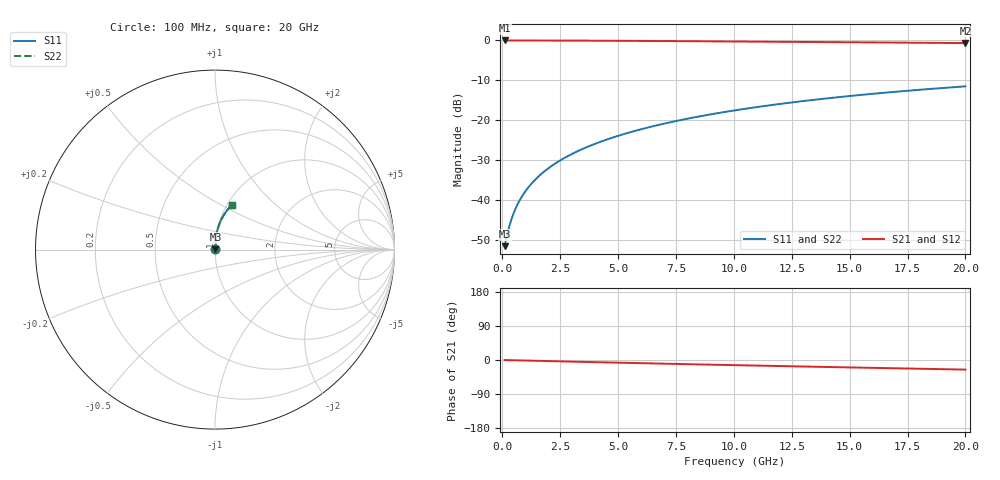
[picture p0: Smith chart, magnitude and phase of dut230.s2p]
! Touchstone file exported from HFSS 2024.1.0
!  File:  C:/UserFiles/LocalFiles/RDL_TSV_Batchsim/temp_RDL_top_230_1778688109.aedt
!  Generated:  12:03:52 AM May 14, 2026
!  Design:  RDL_top
!  Project:  temp_RDL_top_230_1778688109
!  Setup:  Setup1
!  Solution:  Sweep
! Variables:
!  dtsv = 10.80580581um
!  hbump = 3um
!  htsv = 80.7um
!  ldown = 100um
!  lrdl = 331.79um
!  p = 40
!  p1 = 45.3um
!  rhole = 1um
!  t = 450um
!  tdown = 3.915915916um
!  trdl = 2.96um
!  wdown = 15.38538539um
!  wrdl = 19.36um
# GHz S MA R 50.000000
! Terminal data exported
! Port[1] = Box2_T1
! Port[2] = Box2_T2
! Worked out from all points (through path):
!   200 points, 100 MHz to 20 GHz, reference 50 ohm
!   highest |S21| = -0.02 dB at 100 MHz (marker M1); lowest = -0.7 dB at 20 GHz (marker M2)
!   group delay of S21, straight-line fit = 3.5 ps
!   lowest |S11| = -51.5 dB at 100 MHz (marker M3), VSWR 1.01, Z = 50.2 + j0.137 ohm
!   |S11| at or under -10 dB: start of sweep to end of sweep
!   |S22| runs from -51.5 to -11.5 dB; largest |S21 - S12| = 4.3e-15
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0.1  0.002656 30.8  0.9977 -0.2  0.9977 -0.2  0.002656 30.8
! Gamma 0 0 0 0
! Port Impedance 50 0 50 0
0.2  0.003573 48.9  0.9976 -0.3  0.9976 -0.3  0.003573 48.9
0.3  0.004674 58.6  0.9975 -0.5  0.9975 -0.5  0.004674 58.6
0.4  0.005828 64.4  0.9974 -0.6  0.9974 -0.6  0.005828 64.4
0.5  0.006998 68.2  0.9973 -0.7  0.9973 -0.7  0.006998 68.2
0.6  0.008175 71.0  0.9972 -0.9  0.9972 -0.9  0.008175 71.0
0.8  0.01055 74.8  0.997 -1.2  0.997 -1.2  0.01055 74.8
1.1  0.01414 78.3  0.9967 -1.6  0.9967 -1.6  0.01414 78.3
1.3  0.01657 79.8  0.9965 -1.9  0.9965 -1.9  0.01657 79.8
1.6  0.02024 81.5  0.9961 -2.3  0.9961 -2.3  0.02024 81.5
2.1  0.02644 83.1  0.9954 -3.0  0.9954 -3.0  0.02644 83.1
2.7  0.03397 84.2  0.9942 -3.9  0.9942 -3.9  0.03397 84.2
3.5  0.04419 85.0  0.9924 -5.0  0.9924 -5.0  0.04419 85.0
4.2  0.05329 85.2  0.9905 -6.0  0.9905 -6.0  0.05329 85.2
5  0.06385 85.1  0.9881 -7.1  0.9881 -7.1  0.06385 85.1
5.9  0.07593 84.8  0.985 -8.3  0.985 -8.3  0.07593 84.8
6.8  0.08818 84.2  0.9818 -9.5  0.9818 -9.5  0.08818 84.2
8.4  0.1103 82.9  0.9756 -11.5  0.9756 -11.5  0.1103 82.9
10.1  0.1339 81.2  0.9686 -13.7  0.9686 -13.7  0.1339 81.2
13.4  0.1795 77.4  0.9545 -17.7  0.9545 -17.7  0.1795 77.4
16.7  0.2237 73.4  0.9399 -21.6  0.9399 -21.6  0.2237 73.4
20  0.2659 69.4  0.9249 -25.3  0.9249 -25.3  0.2659 69.4
